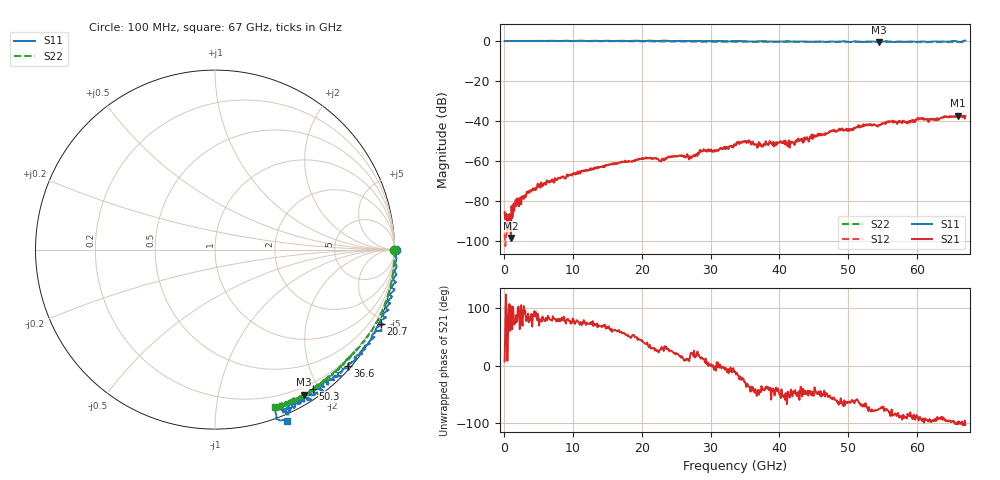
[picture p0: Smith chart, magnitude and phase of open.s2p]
!  2-Port S-parameters saved by WinCal
! VAR MeasName=S-Parameters (CALIBRATED_DATA) read from VNA (N5247A)
! VAR MeasDate=2020/12/15 16:21:03
! VAR NAME=PAD_OPEN
! VAR FILENAME=PAD_OPEN.S2P
! VAR DATE=2020/12/15 16:21:03
! VAR PHYS_PORTS=1,2
! VAR ObjTypeName=DATASET
! VAR IndexType=Frequency
# Hz S MA R 50
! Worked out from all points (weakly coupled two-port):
!   670 points, 100 MHz to 67 GHz, reference 50 ohm
!   highest |S21| = -37.21 dB at 65.9 GHz (marker M1); lowest = -98.4 dB at 1 GHz (marker M2)
!   lowest |S11| = -0.5 dB at 54.5 GHz (marker M3), VSWR 36.52, Z = 5.71 - j88.9 ohm
!   |S11| at or under -10 dB: nowhere
!   |S22| runs from -0.7 to 0.0 dB; largest |S21 - S12| = 0.0016
!   S11 on the Smith chart (normalised r, x): 100 MHz: open; 20.7 GHz: -0.14, -4.69; 36.6 GHz: 0.06, -2.66; 50.3 GHz: 0.12, -1.92; 67 GHz: -0.06, -1.51
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1e8  1.007 -0.0  5.346e-05 7.3  1.549e-05 75.2  1 -0.0
1e9  1.009 -1.1  1.206e-05 103.8  4.119e-05 93.4  1.001 -1.2
2.6e9  1.012 -2.9  0.0001304 80.8  0.00012 83.8  1.001 -3.1
5.1e9  1.014 -5.7  0.0002252 69.5  0.0002345 85.0  1.001 -6.0
1.13e10  1.024 -12.7  0.0005654 70.3  0.0005471 75.9  0.9979 -13.5
2.07e10  1.012 -24.0  0.001238 38.4  0.001195 37.6  0.9877 -24.4
2.24e10  0.999 -26.4  0.001129 23.6  0.001126 24.3  0.9844 -26.4
2.56e10  1.012 -28.9  0.001381 16.9  0.001354 17.3  0.9776 -30.0
2.7e10  1 -31.4  0.001336 14.3  0.001203 14.7  0.9757 -31.2
2.87e10  0.9911 -33.5  0.00179 14.3  0.001721 13.1  0.9698 -33.3
3.36e10  0.9913 -38.0  0.002476 -11.1  0.002578 -12.8  0.9606 -37.8
3.48e10  0.9875 -39.3  0.003134 -23.6  0.00299 -26.6  0.9639 -39.0
3.66e10  0.9847 -41.1  0.002663 -46.6  0.0027 -43.5  0.9594 -40.5
4.13e10  0.9896 -45.5  0.002326 -51.9  0.002832 -48.9  0.9579 -44.7
4.47e10  0.9624 -49.4  0.004669 -45.0  0.003944 -48.9  0.9481 -48.1
4.78e10  0.9701 -51.5  0.005726 -56.1  0.005726 -57.7  0.9508 -50.8
5.03e10  0.9492 -54.9  0.006193 -65.0  0.005912 -62.5  0.9532 -53.9
5.28e10  0.9778 -56.0  0.007908 -73.5  0.008439 -73.1  0.9484 -55.6
5.45e10  0.9467 -58.5  0.008139 -74.8  0.008073 -75.6  0.9554 -57.1
5.59e10  0.9893 -57.4  0.009967 -81.7  0.009614 -81.0  0.9518 -57.9
6.59e10  0.9766 -66.4  0.01379 -97.3  0.01332 -98.5  0.945 -66.6
6.7e10  1.037 -67.1  0.01334 -103.3  0.0125 -99.4  0.9395 -69.1
